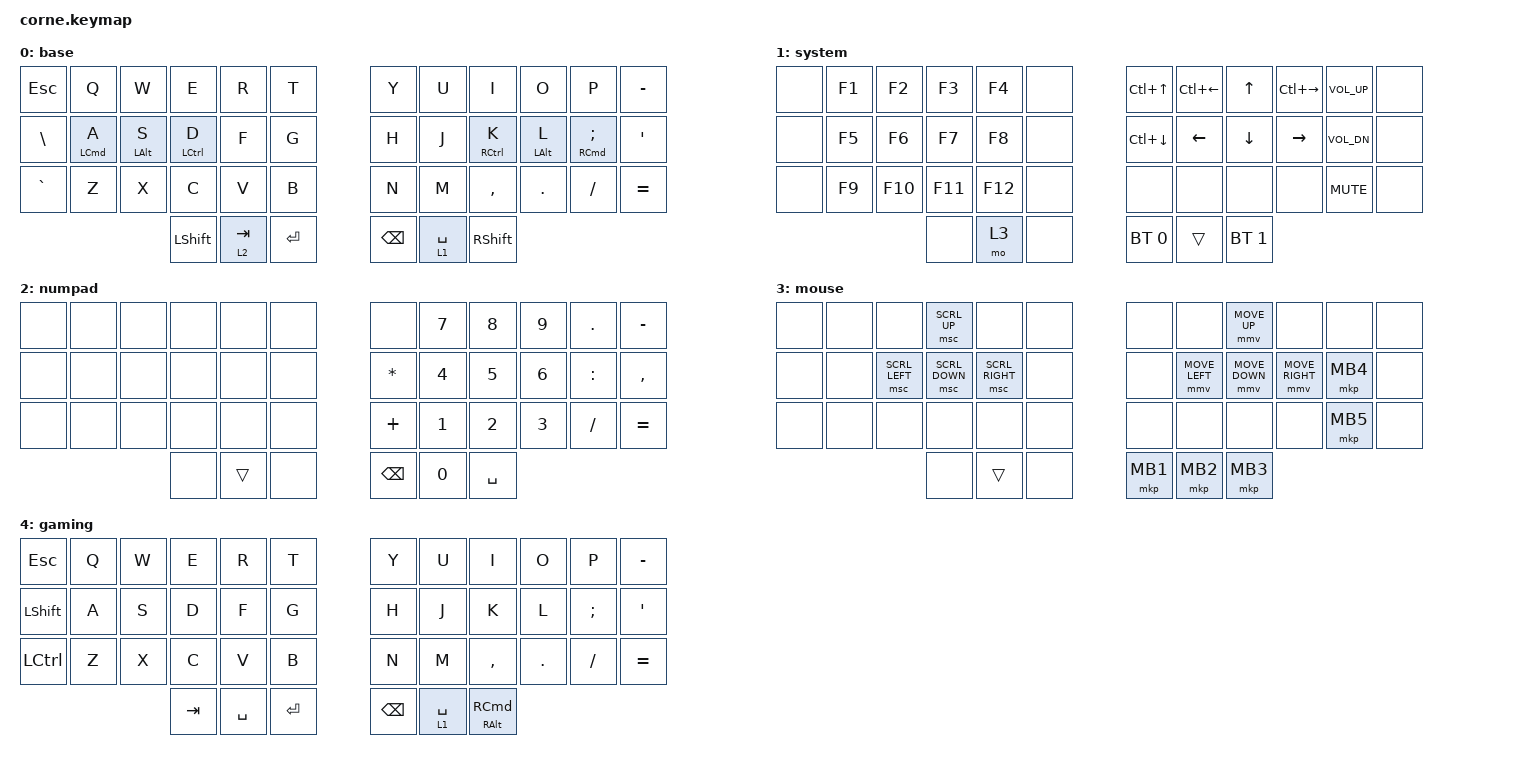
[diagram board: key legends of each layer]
/*
 * Copyright (c) 2020 The ZMK Contributors
 *
 * SPDX-License-Identifier: MIT
 */

#define ZMK_POINTING_DEFAULT_MOVE_VAL 1500  // mouse movement speed, default: 600
#define ZMK_POINTING_DEFAULT_SCRL_VAL 12    // mouse scroll speed, default: 10

#include <behaviors.dtsi>
#include <dt-bindings/zmk/bt.h>
#include <dt-bindings/zmk/keys.h>
#include <dt-bindings/zmk/pointing.h>

/ {
    combos {
        compatible = "zmk,combos";

        combo_gaming_toggle {
            bindings = <&tog 4>;
            key-positions = <35 34 33>;
            layers = <0 4>;
            require-prior-idle-ms = <150>;
        };

        combo_bt_clear {
            bindings = <&bt BT_CLR>;
            key-positions = <39 41>;
            layers = <1>;
            require-prior-idle-ms = <150>;
        };

        combo_exclamation {
            bindings = <&kp EXCLAMATION>;
            key-positions = <1 2>;
            layers = <0>;
            require-prior-idle-ms = <150>;
        };

        combo_at {
            bindings = <&kp AT_SIGN>;
            key-positions = <2 3>;
            require-prior-idle-ms = <150>;
            layers = <0>;
        };

        combo_hash {
            bindings = <&kp HASH>;
            key-positions = <3 4>;
            require-prior-idle-ms = <150>;
            layers = <0>;
        };

        combo_dollar {
            bindings = <&kp DOLLAR>;
            key-positions = <5 4>;
            layers = <0>;
            require-prior-idle-ms = <150>;
        };

        combo_percent {
            bindings = <&kp PERCENT>;
            key-positions = <13 14>;
            require-prior-idle-ms = <150>;
            layers = <0>;
        };

        combo_caret {
            bindings = <&kp CARET>;
            key-positions = <14 15>;
            require-prior-idle-ms = <150>;
            layers = <0>;
        };

        combo_ampersand {
            bindings = <&kp AMPERSAND>;
            key-positions = <15 16>;
            require-prior-idle-ms = <150>;
            layers = <0>;
        };

        combo_star {
            bindings = <&kp ASTERISK>;
            key-positions = <17 16>;
            require-prior-idle-ms = <150>;
            layers = <0>;
        };

        combo_left_parenthesis {
            bindings = <&kp LEFT_PARENTHESIS>;
            key-positions = <7 8>;
            require-prior-idle-ms = <150>;
            layers = <0>;
        };

        combo_right_parenthesis {
            bindings = <&kp RIGHT_PARENTHESIS>;
            key-positions = <8 9>;
            require-prior-idle-ms = <150>;
            layers = <0>;
        };

        combo_left_brace {
            bindings = <&kp LEFT_BRACE>;
            key-positions = <19 20>;
            require-prior-idle-ms = <150>;
            layers = <0>;
        };

        combo_right_brace {
            bindings = <&kp RIGHT_BRACE>;
            key-positions = <20 21>;
            require-prior-idle-ms = <150>;
            layers = <0>;
        };

        combo_left_bracket {
            bindings = <&kp LEFT_BRACKET>;
            key-positions = <31 32>;
            require-prior-idle-ms = <150>;
            layers = <0>;
        };

        combo_right_bracket {
            bindings = <&kp RIGHT_BRACKET>;
            key-positions = <32 33>;
            require-prior-idle-ms = <150>;
            layers = <0>;
        };

        combo_swe_ao {
            bindings = <&kp RA(W)>;
            key-positions = <10 9>;
            layers = <0>;
        };

        combo_swe_ae {
            bindings = <&kp RA(A)>;
            key-positions = <34 33>;
            layers = <0>;
        };

        combo_swe_o {
            bindings = <&kp RA(O)>;
            key-positions = <22 21>;
            layers = <0>;
        };

        combo_num_1 {
            bindings = <&kp N1>;
            key-positions = <1 13>;
            layers = <0>;
        };

        combo_num_2 {
            bindings = <&kp N2>;
            key-positions = <2 14>;
            layers = <0>;
        };

        combo_num_3 {
            bindings = <&kp N3>;
            key-positions = <3 15>;
            layers = <0>;
        };

        combo_num_4 {
            bindings = <&kp N4>;
            key-positions = <16 4>;
            layers = <0>;
        };

        combo_num_5 {
            bindings = <&kp N5>;
            key-positions = <5 17>;
            layers = <0>;
        };

        combo_num_6 {
            bindings = <&kp N6>;
            key-positions = <6 18>;
            layers = <0>;
        };

        combo_num_7 {
            bindings = <&kp N7>;
            key-positions = <7 19>;
            layers = <0>;
        };

        combo_num_8 {
            bindings = <&kp N8>;
            key-positions = <8 20>;
            layers = <0>;
        };

        combo_num_9 {
            bindings = <&kp N9>;
            key-positions = <21 9>;
            layers = <0>;
        };

        combo_num_0 {
            bindings = <&kp N0>;
            key-positions = <10 22>;
            layers = <0>;
        };

        combo_gaming_num_1 {
            bindings = <&kp N1>;
            key-positions = <36 1>;
            layers = <4>;
        };

        combo_gaming_num_2 {
            bindings = <&kp N2>;
            key-positions = <36 2>;
            layers = <4>;
        };

        combo_gaming_num_3 {
            bindings = <&kp N3>;
            key-positions = <36 3>;
            layers = <4>;
        };

        combo_gaming_num_4 {
            bindings = <&kp N4>;
            key-positions = <36 4>;
            layers = <4>;
        };

        combo_gaming_num_5 {
            bindings = <&kp N5>;
            key-positions = <36 5>;
            layers = <4>;
        };

        combo_gaming_num_6 {
            bindings = <&kp N6>;
            key-positions = <36 25>;
            layers = <4>;
        };

        combo_gaming_num_7 {
            bindings = <&kp N7>;
            key-positions = <36 26>;
            layers = <4>;
        };

        combo_gaming_num_8 {
            bindings = <&kp N8>;
            key-positions = <36 27>;
            layers = <4>;
        };

        combo_gaming_num_9 {
            bindings = <&kp N9>;
            key-positions = <36 28>;
            layers = <4>;
        };

        combo_gaming_num_0 {
            bindings = <&kp N0>;
            key-positions = <36 29>;
            layers = <4>;
        };
    };

    behaviors {
        hml: homerow_mods_left {
            compatible = "zmk,behavior-hold-tap";
            bindings = <&kp>, <&kp>;

            #binding-cells = <2>;
            tapping-term-ms = <280>;
            quick-tap-ms = <175>;
            require-prior-idle-ms = <150>;
            flavor = "balanced";
            hold-trigger-on-release;
            hold-trigger-key-positions = <6 36 37 38 39 40 41 7 8 9 10 11 19 20 21 22 23 31 32 33 34 35 41 18 30>;
        };

        hmr: homerow_mods_right {
            compatible = "zmk,behavior-hold-tap";
            bindings = <&kp>, <&kp>;

            #binding-cells = <2>;
            tapping-term-ms = <280>;
            quick-tap-ms = <175>;
            require-prior-idle-ms = <150>;
            flavor = "balanced";
            hold-trigger-on-release;
            hold-trigger-key-positions = <36 37 38 39 40 41 41 0 1 2 3 4 5 12 13 14 15 16 17 24 25 26 27 28 29>;
        };

        smart_shift: smart_shift {
            compatible = "zmk,behavior-mod-morph";
            bindings = <&sk RIGHT_SHIFT>, <&caps_word>;

            #binding-cells = <0>;
            mods = <(MOD_RSFT)>;
        };

        hmli: homerow_mods_left_instant {
            compatible = "zmk,behavior-hold-tap";
            bindings = <&kp>, <&kp>;

            #binding-cells = <2>;
            tapping-term-ms = <280>;
            quick-tap-ms = <175>;
            flavor = "balanced";
            hold-trigger-on-release;
            hold-trigger-key-positions = <6 36 37 38 39 40 41 7 8 9 10 11 19 20 21 22 23 31 32 33 34 35 41 18 30>;
        };

        hmri: homerow_mods_right_instant {
            compatible = "zmk,behavior-hold-tap";
            bindings = <&kp>, <&kp>;

            #binding-cells = <2>;
            tapping-term-ms = <280>;
            quick-tap-ms = <175>;
            flavor = "balanced";
            hold-trigger-on-release;
            hold-trigger-key-positions = <36 37 38 39 40 41 41 0 1 2 3 4 5 12 13 14 15 16 17 24 25 26 27 28 29>;
        };
    };

    keymap {
        compatible = "zmk,keymap";

        base {
            display-name = "base";
            bindings = <
&kp ESC        &kp Q        &kp W        &kp E         &kp R      &kp T        &kp Y          &kp U        &kp I         &kp O        &kp P                &kp MINUS
&kp BACKSLASH  &hml LCMD A  &hml LALT S  &hml LCTRL D  &kp F      &kp G        &kp H          &kp J        &hmr RCTRL K  &hmr LALT L  &hmr RCMD SEMICOLON  &kp SQT
&kp GRAVE      &kp Z        &kp X        &kp C         &kp V      &kp B        &kp N          &kp M        &kp COMMA     &kp DOT      &kp FSLH             &kp EQUAL
                                         &kp LSHIFT    &lt 2 TAB  &kp ENTER    &kp BACKSPACE  &lt 1 SPACE  &kp RSHIFT
            >;
        };

        system {
            display-name = "system";
            bindings = <
&none  &kp F1  &kp F2   &kp F3   &kp F4   &none    &kp LC(UP)    &kp LC(LEFT)  &kp UP        &kp LC(RIGHT)  &kp C_VOL_UP  &none
&none  &kp F5  &kp F6   &kp F7   &kp F8   &none    &kp LC(DOWN)  &kp LEFT      &kp DOWN      &kp RIGHT      &kp C_VOL_DN  &none
&none  &kp F9  &kp F10  &kp F11  &kp F12  &none    &none         &none         &none         &none          &kp C_MUTE    &none
                        &none    &mo 3    &none    &bt BT_SEL 0  &trans        &bt BT_SEL 1
            >;
        };

        numpad {
            display-name = "numpad";
            bindings = <
&none  &none  &none  &none  &none   &none    &none          &kp N7  &kp N8     &kp N9  &kp DOT    &kp MINUS
&none  &none  &none  &none  &none   &none    &kp STAR       &kp N4  &kp N5     &kp N6  &kp COLON  &kp COMMA
&none  &none  &none  &none  &none   &none    &kp PLUS       &kp N1  &kp N2     &kp N3  &kp SLASH  &kp EQUAL
                     &none  &trans  &none    &kp BACKSPACE  &kp N0  &kp SPACE
            >;
        };

        mouse {
            display-name = "mouse";
            bindings = <
&none  &none  &none           &msc SCRL_UP    &none            &none    &none     &none           &mmv MOVE_UP    &none            &none     &none
&none  &none  &msc SCRL_LEFT  &msc SCRL_DOWN  &msc SCRL_RIGHT  &none    &none     &mmv MOVE_LEFT  &mmv MOVE_DOWN  &mmv MOVE_RIGHT  &mkp MB4  &none
&none  &none  &none           &none           &none            &none    &none     &none           &none           &none            &mkp MB5  &none
                              &none           &trans           &none    &mkp MB1  &mkp MB2        &mkp MB3
            >;
        };

        gaming {
            display-name = "gaming";
            bindings = <
&kp ESC    &kp Q  &kp W  &kp E    &kp R      &kp T        &kp Y     &kp U        &kp I          &kp O    &kp P          &kp MINUS
&kp LSHFT  &kp A  &kp S  &kp D    &kp F      &kp G        &kp H     &kp J        &kp K          &kp L    &kp SEMICOLON  &kp APOS
&kp LCTRL  &kp Z  &kp X  &kp C    &kp V      &kp B        &kp N     &kp M        &kp COMMA      &kp DOT  &kp FSLH       &kp EQUAL
                         &kp TAB  &kp SPACE  &kp ENTER    &kp BSPC  &lt 1 SPACE  &mt RALT RCMD
            >;
        };
    };
};
